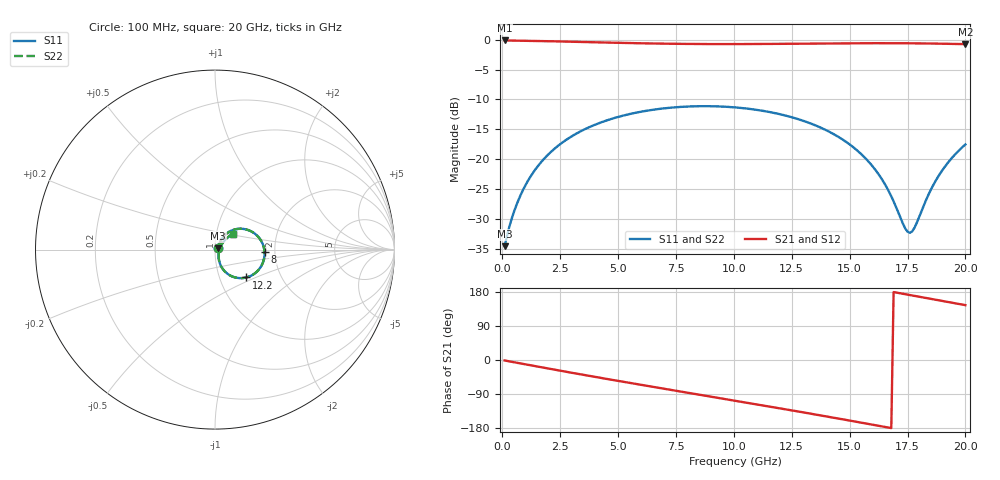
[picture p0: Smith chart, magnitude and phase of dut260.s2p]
! Touchstone file exported from HFSS 2026.1.0
!  File:  C:/ffzhzh/LocalFiles/Ansys_Project_Files/temp_train_TSV_RDL_260_1783069229_17544.aedt
!  Generated:  05:09:14 PM Jul  3, 2026
!  Design:  TSV_RDL
!  Project:  temp_train_TSV_RDL_260_1783069229_17544
! Variables:
!  h_bsmrdl = 4.65um
!  h_ox = 20um
!  h_rdl = 5um
!  h_sub = 60.18um
!  h_tmrdl = 5.64um
!  h_tsv = 60.18um
!  h_via = 3um
!  l_bsmrdl = 835.58um
!  l_sub = 3613.98um
!  l_tmrdl = 151.1um
!  m_sub = 200um
!  pitch = 25.78um
!  r_tsv = 8.4um
!  s_tmrdl = 10um
!  w_bsmrdl = 13.27um
!  w_sub = 500um
!  w_tmrdl = 21.01um
!  x_tsv_center1 = 161.605um
!  x_tsv_center2 = 1010.455um
!  x_tsv_center3 = 1182.565um
!  x_tsv_center4 = 2031.415um
!  x_tsv_center5 = 2203.525um
!  x_tsv_center6 = 3052.375um
# GHz S MA R 50.000000
! Terminal data exported
! Port[1] = TM_RDL1_1_T1
! Port[2] = TM_RDL5_1_T1
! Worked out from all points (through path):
!   200 points, 100 MHz to 20 GHz, reference 50 ohm
!   highest |S21| = -0.15 dB at 100 MHz (marker M1); lowest = -0.8 dB at 20 GHz (marker M2)
!   group delay of S21, straight-line fit = 29.5 ps
!   lowest |S11| = -34.5 dB at 100 MHz (marker M3), VSWR 1.04, Z = 51.8 + j0.685 ohm
!   |S11| at or under -10 dB: start of sweep to end of sweep
!   |S22| runs from -34.5 to -11.1 dB; largest |S21 - S12| = 6.2e-14
!   S11 on the Smith chart (normalised r, x): 100 MHz: 1.04, +0.01; 8 GHz: 1.76, -0.04; 12.2 GHz: 1.34, -0.44; 20 GHz: 1.20, +0.21
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0.1  0.01889 20.5  0.9824 -1.2  0.9824 -1.2  0.01889 20.5
! Gamma 0 0 0 0
! Port Impedance 50 0 50 0
0.3  0.02721 40.9  0.9804 -3.6  0.9804 -3.6  0.02721 40.9
0.6  0.04109 52.3  0.978 -7.0  0.978 -7.0  0.04109 52.3
1.3  0.07602 57.5  0.9738 -14.8  0.9738 -14.8  0.07602 57.5
2.2  0.1202 52.7  0.9666 -24.9  0.9666 -24.9  0.1202 52.7
3.5  0.1761 41.2  0.9537 -39.1  0.9537 -39.1  0.1761 41.2
5.1  0.2288 25.7  0.9378 -56.2  0.9378 -56.2  0.2288 25.7
6.8  0.2641 9.3  0.9248 -73.9  0.9248 -73.9  0.2641 9.3
8  0.2761 -2.2  0.919 -86.2  0.919 -86.2  0.2761 -2.2
10.1  0.2711 -22.1  0.9163 -107.8  0.9163 -107.8  0.2711 -22.2
12.2  0.233 -41.8  0.9212 -129.7  0.9212 -129.7  0.233 -41.9
13.4  0.1967 -52.8  0.9255 -142.5  0.9255 -142.5  0.1966 -52.8
14.5  0.1548 -62.1  0.9293 -154.4  0.9293 -154.4  0.1548 -62.1
15.4  0.1154 -68.2  0.9316 -164.2  0.9316 -164.2  0.1154 -68.4
16.1  0.08246 -70.6  0.9323 -171.9  0.9323 -171.9  0.08241 -70.7
16.7  0.05381 -67.1  0.9322 -178.6  0.9322 -178.6  0.0537 -67.4
17.4  0.02661 -34.9  0.9309 173.7  0.9309 173.7  0.02635 -35.2
17.6  0.02442 -12.9  0.9304 171.4  0.9304 171.4  0.02412 -13.0
17.7  0.02509 -1.4  0.93 170.3  0.93 170.3  0.02478 -1.3
18.8  0.07063 43.5  0.9246 158.1  0.9246 158.1  0.0705 43.7
19.3  0.09675 43.8  0.9211 152.5  0.9211 152.5  0.09664 44.0
20  0.1333 40.6  0.9153 144.8  0.9153 144.8  0.1332 40.7
